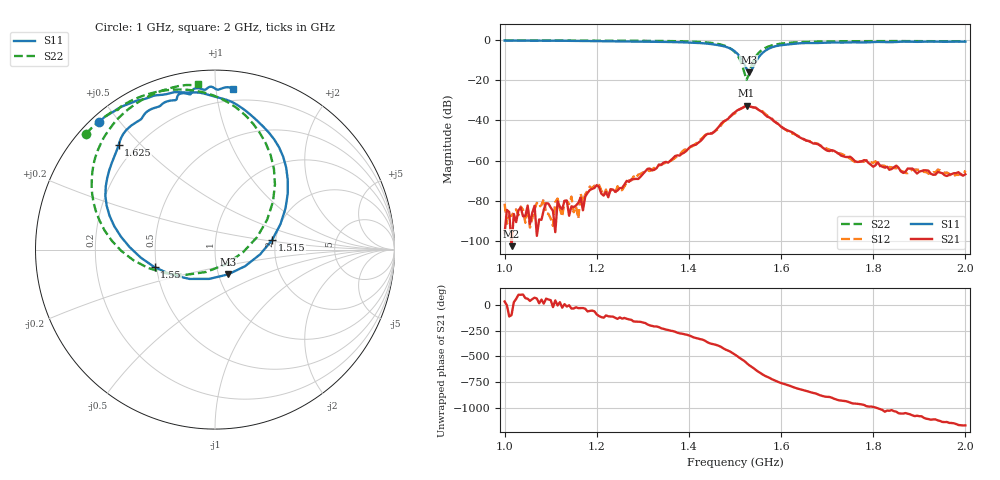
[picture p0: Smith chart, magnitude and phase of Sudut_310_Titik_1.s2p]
# Hz S RI R 50
! CMT, C1220, 16058040, 17.2.0/1
! Date: 14/08/2018 12:58:50
! Data: Format (Calibration Info)
! Freq  S11: Re/Im (F2)  S21: Re/Im (F2)  S12: Re/Im (F2)  S22: Re/Im (F2)
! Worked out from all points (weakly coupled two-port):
!   201 points, 1 GHz to 2 GHz, reference 50 ohm
!   highest |S21| = -32.70 dB at 1.525 GHz (marker M1); lowest = -102.6 dB at 1.015 GHz (marker M2)
!   lowest |S11| = -16.1 dB at 1.53 GHz (marker M3), VSWR 1.37, Z = 55.4 - j15.7 ohm
!   |S11| at or under -10 dB: 1.515 GHz to 1.548 GHz (32.22 MHz wide, 2.1 % of centre)
!   |S22| runs from -19.9 to -0.3 dB; largest |S21 - S12| = 0.00097
!   S11 on the Smith chart (normalised r, x): 1 GHz: 0.02, +0.44; 1.515 GHz: 1.92, +0.23; 1.55 GHz: 0.49, -0.11; 1.625 GHz: 0.14, +0.43; 2 GHz: 0.12, +1.11
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1e9  -0.6479 0.7117  1.23e-05 9.41e-06  -2.7e-05 7.95e-05  -0.7191 0.6459
1.015e9  -0.631 0.7246  -7.21e-07 -7.37e-06  -2.92e-05 3.02e-05  -0.7082 0.6569
1.16e9  -0.475 0.8133  7.84e-05 -4.14e-05  3.61e-05 6.95e-07  -0.5874 0.7592
1.165e9  -0.4692 0.8159  0.000106 -5.47e-05  0.000144 -4.51e-05  -0.5822 0.7627
1.17e9  -0.4628 0.8187  5.16e-05 -2.59e-05  8.13e-05 -3.74e-05  -0.5768 0.7658
1.185e9  -0.441 0.8281  0.000108 -0.000151  0.000156 -0.000161  -0.5596 0.7743
1.2e9  -0.4193 0.8332  4.21e-06 -0.000245  2.21e-05 -0.000244  -0.5429 0.7777
1.225e9  -0.3833 0.8418  -3.6e-05 -0.000116  -4.17e-05 -0.000125  -0.5254 0.7959
1.23e9  -0.375 0.8447  -6.37e-05 -0.000182  -6.28e-05 -0.000182  -0.5196 0.8003
1.335e9  -0.1916 0.8758  -0.000662 0.000441  -0.000566 0.000513  -0.3598 0.87
1.45e9  0.1915 0.7567  0.00447 -0.00138  0.00447 -0.00174  0.0458 0.8346
1.5e9  0.4055 0.3137  -0.00845 -0.0135  -0.008 -0.0126  0.334 0.3626
1.515e9  0.3181 0.0531  -0.0195 -0.00412  -0.0196 -0.00467  0.2349 0.07
1.525e9  0.1682 -0.0921  -0.0214 0.00888  -0.0216 0.00875  0.0613 -0.0811
1.53e9  0.0719 -0.1385  -0.0164 0.0151  -0.0166 0.0151  -0.0492 -0.1246
1.55e9  -0.3371 -0.0979  0.00558 0.0177  0.00488 0.0179  -0.4542 -0.0595
1.58e9  -0.6039 0.2457  0.0106 -0.000345  0.011 -0.000837  -0.6779 0.2673
1.625e9  -0.5372 0.5822  0.00109 -0.00486  0.00116 -0.00455  -0.6488 0.5629
1.67e9  -0.4234 0.7188  -0.00189 -0.00184  -0.00202 -0.00191  -0.5657 0.701
1.835e9  -0.1388 0.8648  0.000381 0.000448  0.000428 0.000539  -0.315 0.8784
1.97e9  0.0498 0.9019  0.000158 -0.00043  9.72e-05 -0.000381  -0.1289 0.916
2e9  0.0977 0.8967  -2.59e-05 -0.000456  -9.76e-06 -0.000563  -0.0972 0.9224
